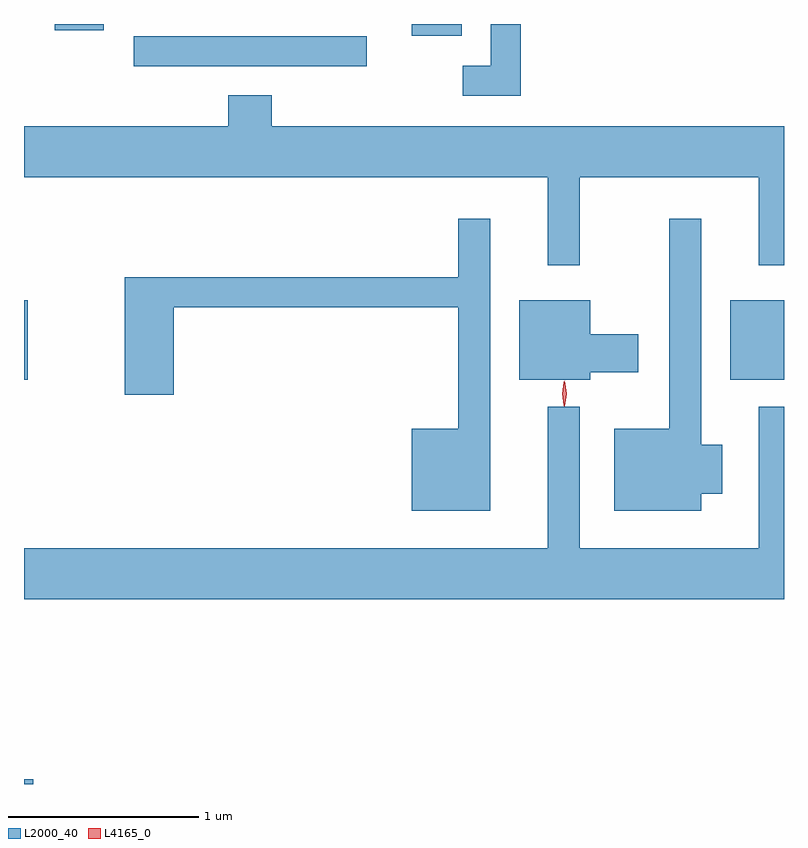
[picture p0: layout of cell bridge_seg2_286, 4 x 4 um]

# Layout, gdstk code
import gdstk
lib = gdstk.Library(unit=1e-6, precision=1e-09)
def R(c, l, rs):  # rectangles x0, y0, x1, y1
    for r in rs: c.add(gdstk.rectangle(r[:2], r[2:], *l))
def P(c, l, *ps):  # polygons
    for p in ps: c.add(gdstk.Polygon(p, *l))
L2000_40 = (2000, 40)
L4165_0 = (4165, 0)

bridge_seg2_286 = lib.new_cell('bridge_seg2_286')
R(bridge_seg2_286, L2000_40, [(590.285,1100.623,590.334,1100.649), (590.285,1102.751,590.304,1103.169), (594.001,1102.751,594.285,1103.169), (590.863,1104.401,592.088,1104.559), (592.326,1104.561,592.589,1104.623), (590.446,1104.591,590.704,1104.623)])
P(bridge_seg2_286, L2000_40, [(592.899,1104.623),(592.741,1104.623),(592.741,1104.404),(592.593,1104.404),(592.593,1104.246),(592.899,1104.246)],
  [(593.209,1103.816),(594.151,1103.816),(594.151,1103.353),(594.285,1103.353),(594.285,1104.084),(591.589,1104.084),(591.589,1104.249),(591.361,1104.249),(591.361,1104.084),(590.285,1104.084),(590.285,1103.816),(593.041,1103.816),(593.041,1103.353),(593.209,1103.353)],
  [(592.739,1103.598),(592.571,1103.598),(592.571,1103.289),(590.816,1103.289),(590.816,1102.671),(591.074,1102.671),(591.074,1103.131),(592.571,1103.131),(592.571,1102.494),(592.326,1102.494),(592.326,1102.061),(592.739,1102.061)],
  [(593.849,1102.151),(593.959,1102.151),(593.959,1102.409),(593.849,1102.409),(593.849,1103.598),(593.681,1103.598),(593.681,1102.494),(593.391,1102.494),(593.391,1102.061),(593.849,1102.061)],
  [(593.264,1102.791),(593.519,1102.791),(593.519,1102.989),(593.264,1102.989),(593.264,1103.169),(592.891,1103.169),(592.891,1102.751),(593.264,1102.751)],
  [(594.285,1102.608),(594.151,1102.608),(594.151,1101.864),(593.209,1101.864),(593.209,1102.608),(593.041,1102.608),(593.041,1101.864),(590.285,1101.864),(590.285,1101.596),(594.285,1101.596)])
P(bridge_seg2_286, L4165_0, [(593.127,1102.613),(593.118,1102.676),(593.127,1102.74),(593.128,1102.74),(593.128,1102.74),(593.138,1102.676),(593.128,1102.613),(593.128,1102.613)],
  [(593.129,1102.61),(593.121,1102.678),(593.131,1102.745),(593.132,1102.746),(593.132,1102.745),(593.141,1102.678),(593.13,1102.61),(593.13,1102.61)])

lib.write_gds('bridge_seg2_286.gds')
